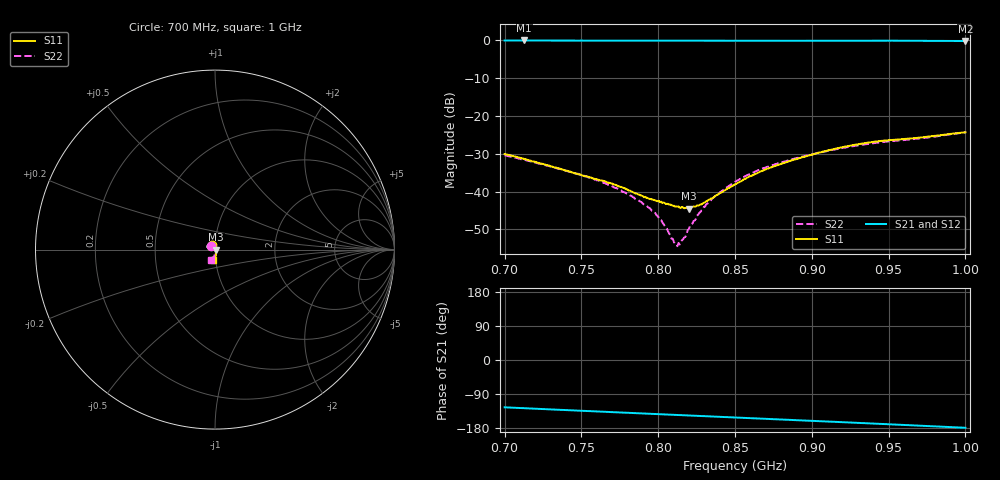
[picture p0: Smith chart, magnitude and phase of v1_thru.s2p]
! 5/26/2025 8:58:12 PM
! C:\ANRITSUVNA\DORIAN\26\V1_THRU2.S2P
! CHANNEL.1
! TR.MEASUREMENT
! CORRECTED.DATA
! RF.CORRECTION: FULL.TWO.PORT.CAL.PORT.1.2
! AVERAGING: 1 PointByPoint
! IF.BANDWIDTH: 300HZ
! SWEEPTYPE:  FREQ.SWEEP(Linear)
! Reference Plane Port Info
! PORT:  PORT1  PORT2
! DISTANCE:  0  m  0  m
! TIME:  0  s  0  s
! PHASE.OFFSET:  0 °  0 °
! LOSS:  0  dB  0  dB
! REF.LOSS:  0  dB  0  dB
! REF.FREQ:  0  Hz  0  Hz
! Power Info
! POWER:  5  dBm  5  dBm
! EFF.POWER:  5  dBm  5  dBm
# GHZ S RI R 50.0
! FREQ.GHZ  S11RE  S11IM  S21RE  S21IM  S12RE  S12IM  S22RE  S22IM
!; PortSelection: Port_12
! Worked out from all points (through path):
!   401 points, 700 MHz to 1 GHz, reference 50 ohm
!   highest |S21| = -0.16 dB at 712.8 MHz (marker M1); lowest = -0.3 dB at 1 GHz (marker M2)
!   group delay of S21, straight-line fit = 497 ps
!   lowest |S11| = -44.5 dB at 820 MHz (marker M3), VSWR 1.01, Z = 50.6 - j0.00484 ohm
!   |S11| at or under -10 dB: start of sweep to end of sweep
!   |S22| runs from -54.4 to -24.4 dB; largest |S21 - S12| = 0.003
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0.7  -0.0177 0.0256  -0.5604 -0.8052  -0.5608 -0.8046  -0.0204 0.0221
0.71275  -0.0134 0.0234  -0.5939 -0.7823  -0.5941 -0.7802  -0.0169 0.02
0.75025  -0.00336 0.016  -0.6788 -0.7035  -0.678 -0.704  -0.0108 0.0125
0.76675  0.000997 0.0132  -0.7125 -0.6686  -0.712 -0.669  -0.00822 0.00948
0.781  0.00255 0.00995  -0.7415 -0.6357  -0.7413 -0.6375  -0.00635 0.00652
0.793  0.00382 0.0073  -0.7653 -0.6064  -0.7646 -0.609  -0.00512 0.00373
0.8005  0.00496 0.00564  -0.779 -0.5881  -0.7785 -0.5902  -0.00404 0.00177
0.80425  0.00533 0.00461  -0.7859 -0.5789  -0.7852 -0.5807  -0.00332 0.00114
0.8095  0.00564 0.00318  -0.795 -0.5659  -0.7947 -0.5673  -0.00237 -0.000222
0.8125  0.00586 0.00226  -0.8002 -0.5584  -0.7997 -0.5597  -0.00167 -0.000909
0.814  0.0058 0.00188  -0.8028 -0.5547  -0.8024 -0.5558  -0.00148 -0.00135
0.81625  0.00602 0.00118  -0.8066 -0.549  -0.8063 -0.5502  -0.00129 -0.00198
0.82  0.00597 -4.78e-05  -0.8128 -0.5395  -0.8125 -0.5407  -0.000626 -0.00315
0.82675  0.00623 -0.0022  -0.8233 -0.5228  -0.824 -0.5233  -0.000241 -0.0052
0.83275  0.00653 -0.00417  -0.8325 -0.5074  -0.8332 -0.5077  -0.000146 -0.0072
0.83725  0.00661 -0.00579  -0.8396 -0.4954  -0.8398 -0.496  0.000247 -0.00875
0.85  0.00629 -0.0107  -0.8584 -0.4617  -0.858 -0.4619  0.000719 -0.0134
0.868  0.00603 -0.0178  -0.8819 -0.4124  -0.8813 -0.4128  0.000999 -0.0201
0.90025  0.00488 -0.0303  -0.917 -0.3227  -0.9173 -0.3232  -0.00202 -0.0309
0.9265  0.00318 -0.0407  -0.9413 -0.248  -0.9412 -0.2485  -0.00649 -0.0389
0.9505  -0.00126 -0.0476  -0.9595 -0.1745  -0.9598 -0.1749  -0.0119 -0.0443
1  -0.0128 -0.059  -0.965 -0.0199  -0.9635 -0.0222  -0.0212 -0.0564
